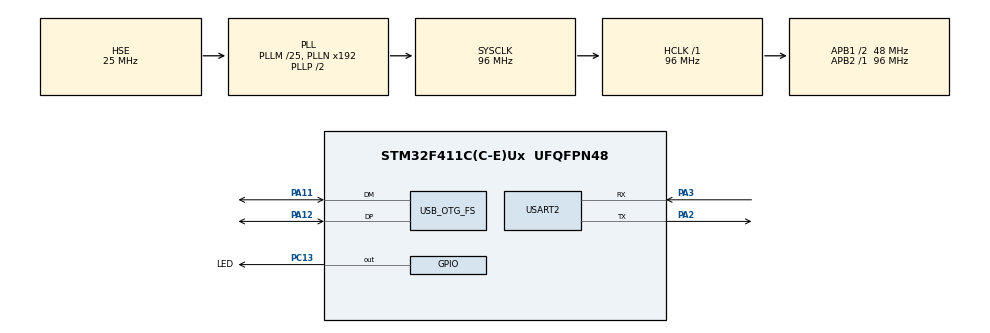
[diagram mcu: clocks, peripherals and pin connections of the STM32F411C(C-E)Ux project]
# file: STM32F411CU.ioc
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Mcu.Family=STM32F4
Mcu.Name=STM32F411C(C-E)Ux
Mcu.Package=UFQFPN48
NVIC.OTG_FS_IRQn=true\:0\:0\:false\:false\:true\:false\:true\:true
NVIC.PriorityGroup=NVIC_PRIORITYGROUP_4
NVIC.USART2_IRQn=true\:0\:0\:false\:false\:true\:true\:true\:true
PA11.Mode=Device_Only
PA11.Signal=USB_OTG_FS_DM
PA12.Mode=Device_Only
PA12.Signal=USB_OTG_FS_DP
PA2.Mode=Asynchronous
PA2.Signal=USART2_TX
PA3.Mode=Asynchronous
PA3.Signal=USART2_RX
PC13-ANTI_TAMP.GPIO_Label=LED
PC13-ANTI_TAMP.Signal=GPIO_Output
PC14-OSC32_IN.Mode=LSE-External-Oscillator
PC14-OSC32_IN.Signal=RCC_OSC32_IN
PC15-OSC32_OUT.Mode=LSE-External-Oscillator
PC15-OSC32_OUT.Signal=RCC_OSC32_OUT
PH0\ -\ OSC_IN.Mode=HSE-External-Oscillator
PH0\ -\ OSC_IN.Signal=RCC_OSC_IN
PH1\ -\ OSC_OUT.Mode=HSE-External-Oscillator
PH1\ -\ OSC_OUT.Signal=RCC_OSC_OUT
ProjectManager.HeapSize=0x200
ProjectManager.StackSize=0x400
ProjectManager.TargetToolchain=Makefile
RCC.48MHZClocksFreq_Value=48000000
RCC.AHBFreq_Value=96000000
RCC.APB1CLKDivider=RCC_HCLK_DIV2
RCC.APB1Freq_Value=48000000
RCC.APB1TimFreq_Value=96000000
RCC.APB2Freq_Value=96000000
RCC.APB2TimFreq_Value=96000000
RCC.CortexFreq_Value=96000000
RCC.HCLKFreq_Value=96000000
RCC.HSE_VALUE=25000000
RCC.HSI_VALUE=16000000
RCC.PLLM=25
RCC.SYSCLKFreq_VALUE=96000000
RCC.SYSCLKSource=RCC_SYSCLKSOURCE_PLLCLK
RCC.VCOOutputFreq_Value=192000000
USART2.VirtualMode=VM_ASYNC
USB_DEVICE.CLASS_NAME_FS=CDC
USB_DEVICE.VirtualMode=Cdc
USB_DEVICE.VirtualModeFS=Cdc_FS
USB_OTG_FS.VirtualMode=Device_Only
VP_USB_DEVICE_VS_USB_DEVICE_CDC_FS.Mode=CDC_FS
board=custom

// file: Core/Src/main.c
/* USER CODE BEGIN Header */
/**
 ******************************************************************************
 * @file           : main.c
 * @brief          : Main program body
 ******************************************************************************
 * @attention
 *
 * Copyright (c) 2022 STMicroelectronics.
 * All rights reserved.
 *
 * This software is licensed under terms that can be found in the LICENSE file
 * in the root directory of this software component.
 * If no LICENSE file comes with this software, it is provided AS-IS.
 *
 ******************************************************************************
 */
/* USER CODE END Header */
#include "main.h"
#include "usart.h"
#include "usb_device.h"
#include "gpio.h"

/* USER CODE BEGIN Includes */
#include "wifi.h"
/* USER CODE END Includes */

/* USER CODE BEGIN PD */
#define BLINK500 500
#define BLINK250 250
#define NETWORK_CONNECT_SUCCESS 1
#define NETWORK_CONNECT_ERROR 0
/* USER CODE END PD */

/* USER CODE BEGIN PM */
typeUART2_handleRecvByte pvUART2_handleRecvByte = NULL;
/* USER CODE END PM */

/* USER CODE BEGIN PV */
uint8_t Rx_data[20];

unsigned char dp_pump_enable = 0;
unsigned char dp_pump_state = 0;
unsigned char dp_pump_stateM = 0;
unsigned long dp_curr_press = 0;
unsigned long dp_set_press = 0;
unsigned long dp_delt_press = 0;
unsigned long dp_sens_max = 0;

uint32_t last_time;
uint8_t buffer[] = "Hello World!!\n\r";
/* USER CODE END PV */

void SystemClock_Config(void);
/* USER CODE BEGIN PFP */
extern uint8_t CDC_Transmit_FS(uint8_t *Buf, uint16_t Len);
/* USER CODE END PFP */

/* USER CODE BEGIN 0 */

static uint8_t get_wifi_work_state(void)
{
    if ((mcu_get_wifi_work_state() == WIFI_CONNECTED) || (mcu_get_wifi_work_state() == WIFI_CONN_CLOUD))
    {
        return NETWORK_CONNECT_SUCCESS;
    }
    return NETWORK_CONNECT_ERROR;
}

void UART_HandleRecvByteCallBackInit(typeUART2_handleRecvByte func)
{
    if (func != NULL)
    {
        pvUART2_handleRecvByte = func;
    }
}
/* USER CODE END 0 */

int main(void)
{

    /* MCU Configuration--------------------------------------------------------*/

    /* Reset of all peripherals, Initializes the Flash interface and the Systick. */
    HAL_Init();

    /* Configure the system clock */
    SystemClock_Config();

    /* Initialize all configured peripherals */
    MX_GPIO_Init();
    MX_USART2_UART_Init();
    MX_USB_DEVICE_Init();
    /* USER CODE BEGIN 2 */
    HAL_UART_Receive_IT(&huart2, Rx_data, 1); // Enable receive interrupt
    UART_HandleRecvByteCallBackInit(uart_receive_input);
    wifi_protocol_init();
    /* USER CODE END 2 */

    /* Infinite loop */
    /* USER CODE BEGIN WHILE */

    while (1)
    {
        // CDC_Transmit_FS(buffer, sizeof(buffer));
        // HAL_Delay(1000);

        wifi_uart_service();

        HAL_GPIO_TogglePin(LED_GPIO_Port, LED_Pin);
        if (HAL_GetTick() - last_time >= BLINK500)
        {
            last_time = HAL_GetTick();
        }
        // // HAL_Delay(50);
        // if (HAL_GPIO_ReadPin(BTN_GPIO_Port, BTN_Pin) == GPIO_PIN_RESET &&
        //     mcu_get_wifi_work_state() != SMART_CONFIG_STATE)
        // {
        //     HAL_Delay(1000);
        //     if (HAL_GPIO_ReadPin(BTN_GPIO_Port, BTN_Pin) == GPIO_PIN_RESET)
        //     {
        //         last_time = HAL_GetTick();
        //         mcu_set_wifi_mode(SMART_CONFIG);
        //     }
        // }
        // if ((mcu_get_wifi_work_state() != WIFI_LOW_POWER) &&
        //     (mcu_get_wifi_work_state() != WIFI_CONN_CLOUD) &&
        //     (mcu_get_wifi_work_state() != WIFI_SATE_UNKNOW))
        // {
        // }

        /* USER CODE END WHILE */

    }
}

void SystemClock_Config(void)
{
    RCC_OscInitTypeDef RCC_OscInitStruct = {0};
    RCC_ClkInitTypeDef RCC_ClkInitStruct = {0};

    /** Configure the main internal regulator output voltage
     */
    __HAL_RCC_PWR_CLK_ENABLE();
    __HAL_PWR_VOLTAGESCALING_CONFIG(PWR_REGULATOR_VOLTAGE_SCALE1);

    /** Initializes the RCC Oscillators according to the specified parameters
     * in the RCC_OscInitTypeDef structure.
     */
    RCC_OscInitStruct.OscillatorType = RCC_OSCILLATORTYPE_HSE;
    RCC_OscInitStruct.HSEState = RCC_HSE_ON;
    RCC_OscInitStruct.PLL.PLLState = RCC_PLL_ON;
    RCC_OscInitStruct.PLL.PLLSource = RCC_PLLSOURCE_HSE;
    RCC_OscInitStruct.PLL.PLLM = 25;
    RCC_OscInitStruct.PLL.PLLN = 192;
    RCC_OscInitStruct.PLL.PLLP = RCC_PLLP_DIV2;
    RCC_OscInitStruct.PLL.PLLQ = 4;
    if (HAL_RCC_OscConfig(&RCC_OscInitStruct) != HAL_OK)
    {
        Error_Handler();
    }

    /** Initializes the CPU, AHB and APB buses clocks
     */
    RCC_ClkInitStruct.ClockType = RCC_CLOCKTYPE_HCLK | RCC_CLOCKTYPE_SYSCLK | RCC_CLOCKTYPE_PCLK1 | RCC_CLOCKTYPE_PCLK2;
    RCC_ClkInitStruct.SYSCLKSource = RCC_SYSCLKSOURCE_PLLCLK;
    RCC_ClkInitStruct.AHBCLKDivider = RCC_SYSCLK_DIV1;
    RCC_ClkInitStruct.APB1CLKDivider = RCC_HCLK_DIV2;
    RCC_ClkInitStruct.APB2CLKDivider = RCC_HCLK_DIV1;

    if (HAL_RCC_ClockConfig(&RCC_ClkInitStruct, FLASH_LATENCY_3) != HAL_OK)
    {
        Error_Handler();
    }
}

/* USER CODE BEGIN 4 */
void HAL_UART_RxCpltCallback(UART_HandleTypeDef *huart)
{ // Callback
    if (huart->Instance == USART2)
    { // Check Uart2?
        if (pvUART2_handleRecvByte != NULL)
        {
            HAL_UART_Receive_IT(&huart2, Rx_data, 1); // Receive 1 byte
            typeUART2_handleRecvByte(Rx_data[0]);     // Push to queue
        }
    }
}
/* USER CODE END 4 */

void Error_Handler(void)
{
    __disable_irq();
    while (1)
    {
    }
}
